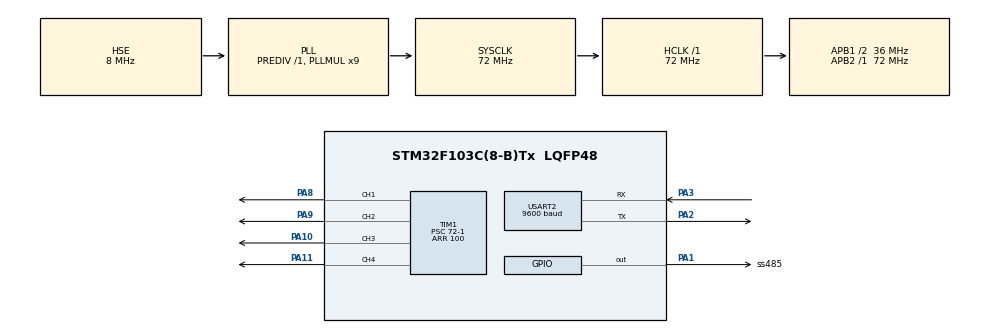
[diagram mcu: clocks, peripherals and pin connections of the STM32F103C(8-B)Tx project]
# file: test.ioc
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Mcu.Family=STM32F1
Mcu.Name=STM32F103C(8-B)Tx
Mcu.Package=LQFP48
NVIC.PVD_IRQn=true\:0\:0\:false\:false\:true\:true\:true\:true
NVIC.PriorityGroup=NVIC_PRIORITYGROUP_4
NVIC.TIM1_CC_IRQn=true\:1\:0\:true\:false\:true\:true\:true\:true
NVIC.USART2_IRQn=true\:0\:0\:false\:false\:true\:true\:true\:true
PA1.GPIO_Label=ss485
PA1.Signal=GPIO_Output
PA10.Signal=S_TIM1_CH3
PA11.Signal=S_TIM1_CH4
PA13.Mode=Serial_Wire
PA13.Signal=SYS_JTMS-SWDIO
PA14.Mode=Serial_Wire
PA14.Signal=SYS_JTCK-SWCLK
PA2.Mode=Asynchronous
PA2.Signal=USART2_TX
PA3.Mode=Asynchronous
PA3.Signal=USART2_RX
PA8.Signal=S_TIM1_CH1
PA9.Signal=S_TIM1_CH2
PC14-OSC32_IN.Mode=LSE-External-Oscillator
PC14-OSC32_IN.Signal=RCC_OSC32_IN
PC15-OSC32_OUT.Mode=LSE-External-Oscillator
PC15-OSC32_OUT.Signal=RCC_OSC32_OUT
PD0-OSC_IN.Mode=HSE-External-Oscillator
PD0-OSC_IN.Signal=RCC_OSC_IN
PD1-OSC_OUT.Mode=HSE-External-Oscillator
PD1-OSC_OUT.Signal=RCC_OSC_OUT
ProjectManager.HeapSize=0x200
ProjectManager.StackSize=0x400
ProjectManager.TargetToolchain=STM32CubeIDE
RCC.AHBFreq_Value=72000000
RCC.APB1CLKDivider=RCC_HCLK_DIV2
RCC.APB1Freq_Value=36000000
RCC.APB1TimFreq_Value=72000000
RCC.APB2Freq_Value=72000000
RCC.APB2TimFreq_Value=72000000
RCC.HCLKFreq_Value=72000000
RCC.PLLMUL=RCC_PLL_MUL9
RCC.PLLSourceVirtual=RCC_PLLSOURCE_HSE
RCC.SYSCLKFreq_VALUE=72000000
RCC.SYSCLKSource=RCC_SYSCLKSOURCE_PLLCLK
RCC.USBFreq_Value=72000000
SH.S_TIM1_CH1.0=TIM1_CH1,PWM Generation1 CH1
SH.S_TIM1_CH2.0=TIM1_CH2,PWM Generation2 CH2
SH.S_TIM1_CH3.0=TIM1_CH3,PWM Generation3 CH3
SH.S_TIM1_CH4.0=TIM1_CH4,PWM Generation4 CH4
TIM1.AutoReloadPreload=TIM_AUTORELOAD_PRELOAD_ENABLE
TIM1.Channel-PWM\ Generation1\ CH1=TIM_CHANNEL_1
TIM1.Channel-PWM\ Generation2\ CH2=TIM_CHANNEL_2
TIM1.Channel-PWM\ Generation3\ CH3=TIM_CHANNEL_3
TIM1.Channel-PWM\ Generation4\ CH4=TIM_CHANNEL_4
TIM1.CounterMode=TIM_COUNTERMODE_UP
TIM1.Period=100
TIM1.Prescaler=72-1
TIM1.Pulse-PWM\ Generation1\ CH1=50
TIM1.Pulse-PWM\ Generation2\ CH2=40
TIM1.Pulse-PWM\ Generation3\ CH3=30
TIM1.Pulse-PWM\ Generation4\ CH4=20
TIM1.TIM_MasterOutputTrigger=TIM_TRGO_RESET
USART2.BaudRate=9600
USART2.VirtualMode=VM_ASYNC
VP_TIM1_VS_ClockSourceINT.Mode=Internal
board=custom

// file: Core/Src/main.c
/* USER CODE BEGIN Header */
/**
  ******************************************************************************
  * @file           : main.c
  * @brief          : Main program body
  ******************************************************************************
  * @attention
  *
  * Copyright (c) 2024 STMicroelectronics.
  * All rights reserved.
  *
  * This software is licensed under terms that can be found in the LICENSE file
  * in the root directory of this software component.
  * If no LICENSE file comes with this software, it is provided AS-IS.
  *
  ******************************************************************************
  */
/* USER CODE END Header */
#include "main.h"
#include "tim.h"
#include "usart.h"
#include "gpio.h"

/* USER CODE BEGIN Includes */

/************************************************************************/
//#include "rs485.h"

/*******************************************************************************/
/* USER CODE END Includes */

/* USER CODE BEGIN PD */
uint8_t str[]="hello";
/* USER CODE END PD */

/* USER CODE BEGIN PV */
uint16_t sin_val[]={
		500,531,562,593,624,654,684,712,740,767,793,818,842,864,885,904,
		922,938,952,964,975,984,991,996,999,1000,999,996,991,984,975,964,
		952,938,922,904,885,864,842,818,793,767,740,712,684,654,624,593,
		562,531,500,468,437,406,375,345,315,287,259,232,206,181,157,135,
		114,95,77,61,47,35,24,15,8,3,0,0,0,3,8,15,
		24,35,47,61,77,95,114,135,157,181,206,232,259,287,315,345,
		375,406,437,468
};
uint8_t size=100;
uint8_t receiveData[2];
/* USER CODE END PV */

void SystemClock_Config(void);

/* USER CODE BEGIN 0 */

static int num=5;
/*
 static int i=0;
 // 周期中断函数
void HAL_TIM_PeriodElapsedCallback(TIM_HandleTypeDef *htim){

	if(++i==size)i=0;
	__HAL_TIM_SET_COMPARE(&htim1,TIM_CHANNEL_1,sin_val[i]);
		HAL_GPIO_WritePin(ss485_GPIO_Port, ss485_Pin, GPIO_PIN_SET);
		HAL_UART_Transmit(&huart2,str,sizeof(str),100);

}
*/
static uint16_t cnt = 0;
// 每发一个脉冲触发一次中断 会频繁调用中断
void HAL_TIM_PWM_PulseFinishedCallback(TIM_HandleTypeDef *htim){

	cnt++;
	if(cnt == num){
		cnt = 0;
		HAL_TIM_PWM_Stop_IT(&htim1,TIM_CHANNEL_1);
	}

}
// 串口接收完成中断  当为阻塞模式接收，按字符数计算   当为中断模式接收也是字符数吧   当为空闲中断接收   会检测到串口的空闲时间
void HAL_UART_RxCpltCallback(UART_HandleTypeDef *huart){
	if(huart== &huart2){
		if(receiveData[0]==1){

			HAL_TIM_PWM_Stop_IT(&htim1,TIM_CHANNEL_1);

//			HAL_TIMEx_PWMN_Stop_IT(&htim1,TIM_CHANNEL_1);
//			__HAL_TIM_SET_COMPARE(&htim1,TIM_CHANNEL_1,receiveData[1]);
		}

		if(receiveData[0]==2){
			__HAL_TIM_SET_COMPARE(&htim1,TIM_CHANNEL_1,receiveData[1]);
			HAL_TIM_PWM_Start_IT(&htim1,TIM_CHANNEL_1);
			HAL_TIMEx_PWMN_Start_IT(&htim1,TIM_CHANNEL_1);
		}
		if(receiveData[0]==3){
			num=receiveData[1];
			HAL_TIM_PWM_Start_IT(&htim1,TIM_CHANNEL_1);

//			HAL_TIM_PWM_Start_IT(&htim1,TIM_CHANNEL_2);
//			HAL_TIM_PWM_Start_IT(&htim2,TIM_CHANNEL_1);
//			HAL_TIMEx_PWMN_Start(&htim1,TIM_CHANNEL_1);
		}
		HAL_UART_Receive_IT(&huart2,receiveData,2);
	}

}

/* USER CODE END 0 */

int main(void)
{

  /* MCU Configuration--------------------------------------------------------*/

  /* Reset of all peripherals, Initializes the Flash interface and the Systick. */
  HAL_Init();

  /* Configure the system clock */
  SystemClock_Config();

  /* Initialize all configured peripherals */
  MX_GPIO_Init();
  MX_TIM1_Init();
  MX_USART2_UART_Init();
  /* USER CODE BEGIN 2 */
  /* MCU Configuration--------------------------------------------------------*/
//  rs485_Init();
//  Init_Ads000(); // 初始化设备外设 模拟量的芯片
  /* MCU Configuration--------------------------------------------------------*/
//  HAL_TIM_PWM_Start(&htim1,TIM_CHANNEL_1);
//  HAL_TIMEx_PWMN_Start(&htim1,TIM_CHANNEL_1);
//  HAL_TIM_Base_Start_IT(&htim1);
  HAL_UART_Receive_IT(&huart2,receiveData,2);

  /* USER CODE END 2 */

  /* Infinite loop */
  while (1)
  {

  }
}

void SystemClock_Config(void)
{
  RCC_OscInitTypeDef RCC_OscInitStruct = {0};
  RCC_ClkInitTypeDef RCC_ClkInitStruct = {0};

  /** Initializes the RCC Oscillators according to the specified parameters
  * in the RCC_OscInitTypeDef structure.
  */
  RCC_OscInitStruct.OscillatorType = RCC_OSCILLATORTYPE_HSE;
  RCC_OscInitStruct.HSEState = RCC_HSE_ON;
  RCC_OscInitStruct.HSEPredivValue = RCC_HSE_PREDIV_DIV1;
  RCC_OscInitStruct.HSIState = RCC_HSI_ON;
  RCC_OscInitStruct.PLL.PLLState = RCC_PLL_ON;
  RCC_OscInitStruct.PLL.PLLSource = RCC_PLLSOURCE_HSE;
  RCC_OscInitStruct.PLL.PLLMUL = RCC_PLL_MUL9;
  if (HAL_RCC_OscConfig(&RCC_OscInitStruct) != HAL_OK)
  {
    Error_Handler();
  }

  /** Initializes the CPU, AHB and APB buses clocks
  */
  RCC_ClkInitStruct.ClockType = RCC_CLOCKTYPE_HCLK|RCC_CLOCKTYPE_SYSCLK
                              |RCC_CLOCKTYPE_PCLK1|RCC_CLOCKTYPE_PCLK2;
  RCC_ClkInitStruct.SYSCLKSource = RCC_SYSCLKSOURCE_PLLCLK;
  RCC_ClkInitStruct.AHBCLKDivider = RCC_SYSCLK_DIV1;
  RCC_ClkInitStruct.APB1CLKDivider = RCC_HCLK_DIV2;
  RCC_ClkInitStruct.APB2CLKDivider = RCC_HCLK_DIV1;

  if (HAL_RCC_ClockConfig(&RCC_ClkInitStruct, FLASH_LATENCY_2) != HAL_OK)
  {
    Error_Handler();
  }
}

void Error_Handler(void)
{
  __disable_irq();
  while (1)
  {
  }
}
